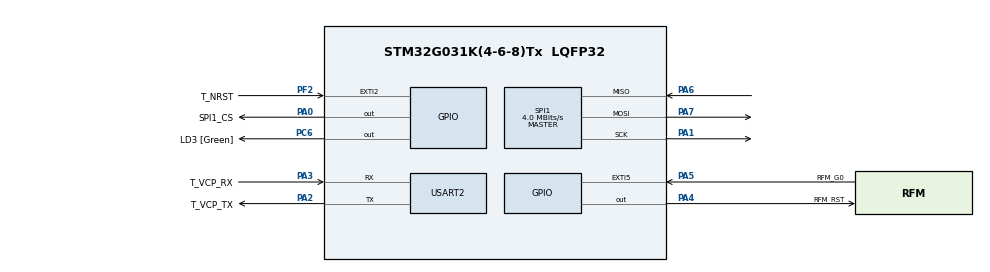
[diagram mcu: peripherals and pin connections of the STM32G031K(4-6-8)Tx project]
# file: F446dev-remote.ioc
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Mcu.Family=STM32G0
Mcu.Name=STM32G031K(4-6-8)Tx
Mcu.Package=LQFP32
PA0.GPIO_Label=SPI1_CS
PA0.GPIO_Speed=GPIO_SPEED_FREQ_VERY_HIGH
PA0.PinState=GPIO_PIN_SET
PA0.Signal=GPIO_Output
PA1.Mode=Full_Duplex_Master
PA1.Signal=SPI1_SCK
PA13.GPIO_Label=T_JTMS
PA13.Mode=Serial_Wire
PA13.Signal=SYS_SWDIO
PA14-BOOT0.GPIO_Label=T_JTCK
PA14-BOOT0.Mode=Serial_Wire
PA14-BOOT0.Signal=SYS_SWCLK
PA2.GPIO_Label=T_VCP_TX
PA2.GPIO_PuPd=GPIO_PULLUP
PA2.Mode=Asynchronous
PA2.Signal=USART2_TX
PA3.GPIO_Label=T_VCP_RX
PA3.GPIO_PuPd=GPIO_PULLUP
PA3.Mode=Asynchronous
PA3.Signal=USART2_RX
PA4.GPIO_Label=RFM_RST
PA4.GPIO_Speed=GPIO_SPEED_FREQ_VERY_HIGH
PA4.PinState=GPIO_PIN_SET
PA4.Signal=GPIO_Output
PA5.GPIO_Label=RFM_G0
PA5.Signal=GPXTI5
PA6.Mode=Full_Duplex_Master
PA6.Signal=SPI1_MISO
PA7.Mode=Full_Duplex_Master
PA7.Signal=SPI1_MOSI
PC14-OSC32_IN\ (PC14).Mode=LSE-External-Oscillator
PC14-OSC32_IN\ (PC14).Signal=RCC_OSC32_IN
PC15-OSC32_OUT\ (PC15).Mode=LSE-External-Oscillator
PC15-OSC32_OUT\ (PC15).Signal=RCC_OSC32_OUT
PC6.GPIO_Label=LD3 [Green]
PC6.Signal=GPIO_Output
PF2\ -\ NRST.GPIO_Label=T_NRST
PF2\ -\ NRST.Signal=GPXTI2
ProjectManager.HeapSize=0x200
ProjectManager.StackSize=0x400
ProjectManager.TargetToolchain=STM32CubeIDE
RCC.AHBFreq_Value=16000000
RCC.CortexFreq_Value=16000000
RCC.EXTERNAL_CLOCK_VALUE=12288000
RCC.HCLKFreq_Value=16000000
RCC.HSE_VALUE=8000000
RCC.HSI_VALUE=16000000
RCC.SYSCLKFreq_VALUE=16000000
RCC.VCOOutputFreq_Value=128000000
SPI1.BaudRatePrescaler=SPI_BAUDRATEPRESCALER_4
SPI1.CalculateBaudRate=4.0 MBits/s
SPI1.Direction=SPI_DIRECTION_2LINES
SPI1.Mode=SPI_MODE_MASTER
SPI1.VirtualType=VM_MASTER
USART2.VirtualMode-Asynchronous=VM_ASYNC
USART2.WordLength=WORDLENGTH_8B
board=NUCLEO-G031K8

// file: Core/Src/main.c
/* USER CODE BEGIN Header */
/**
  ******************************************************************************
  * @file           : main.c
  * @brief          : Main program body
  ******************************************************************************
  * @attention
  *
  * Copyright (c) 2024 STMicroelectronics.
  * All rights reserved.
  *
  * This software is licensed under terms that can be found in the LICENSE file
  * in the root directory of this software component.
  * If no LICENSE file comes with this software, it is provided AS-IS.
  *
  ******************************************************************************
  */
/* USER CODE END Header */
#include "main.h"

/* USER CODE BEGIN Includes */
#include "LoRa.h"
/* USER CODE END Includes */

SPI_HandleTypeDef hspi1;

void SystemClock_Config(void);
static void MX_GPIO_Init(void);
static void MX_USART2_UART_Init(void);
static void MX_SPI1_Init(void);

int main(void)
{

  /* MCU Configuration--------------------------------------------------------*/

  /* Reset of all peripherals, Initializes the Flash interface and the Systick. */
  HAL_Init();

  /* Configure the system clock */
  SystemClock_Config();

  /* Initialize all configured peripherals */
  MX_GPIO_Init();
  MX_USART2_UART_Init();
  MX_SPI1_Init();
  /* USER CODE BEGIN 2 */
  uint8_t welcome_msg[] = "\e[2J\e[HAMP KART Remote UART Interface\r\n=======================\r\n";
  //  HAL_UART_Transmit_IT(&huart2, welcome_msg, sizeof(welcome_msg));
    for (int i = 0; i < sizeof(welcome_msg); i++)
    {
  	  LL_USART_TransmitData8(USART2, welcome_msg[i]);
  	  while (!LL_USART_IsActiveFlag_TXE(USART2));
    }

    LoRa myLoRa;
    myLoRa = newLoRa();

    myLoRa.CS_port = SPI1_CS_GPIO_Port;
    myLoRa.CS_pin = SPI1_CS_Pin;
    myLoRa.reset_port = RFM_RST_GPIO_Port;
    myLoRa.reset_pin = RFM_RST_Pin;
    myLoRa.DIO0_port = RFM_G0_GPIO_Port;
    myLoRa.DIO0_pin = RFM_G0_Pin;
    myLoRa.hSPIx = &hspi1;

    myLoRa.frequency = 915;

    LoRa_reset(&myLoRa);
    uint16_t lora_status = LoRa_init(&myLoRa);
    if (lora_status == LORA_OK)
    {
    	  uint8_t msg[] = "LoRa OK\r\n";
    	  //  HAL_UART_Transmit_IT(&huart2, welcome_msg, sizeof(welcome_msg));
    	  for (int i = 0; i < sizeof(msg); i++)
    	  {
    		  LL_USART_TransmitData8(USART2, msg[i]);
    		  while (!LL_USART_IsActiveFlag_TXE(USART2));
    	  }
    }
    else
    {
    	  uint8_t msg[] = "LoRa FAILED\r\n";
    	  //  HAL_UART_Transmit_IT(&huart2, welcome_msg, sizeof(welcome_msg));
    	  for (int i = 0; i < sizeof(msg); i++)
    	  {
    		  LL_USART_TransmitData8(USART2, msg[i]);
    		  while (!LL_USART_IsActiveFlag_TXE(USART2));
    	  }
    }
  /* USER CODE END 2 */

  /* Infinite loop */
  /* USER CODE BEGIN WHILE */
    char send_data[200];
    memset(send_data, NULL, 200);
    snprintf(send_data, sizeof(send_data), "1234abcd\r\n");
  while (1)
  {
	  //  HAL_UART_Transmit_IT(&huart2, welcome_msg, sizeof(welcome_msg));
	  for (int i = 0; i < sizeof(send_data); i++)
	  {
		  LL_USART_TransmitData8(USART2, send_data[i]);
		  while (!LL_USART_IsActiveFlag_TXE(USART2));
	  }
	  LL_GPIO_SetOutputPin(LD3_GPIO_Port, LD3_Pin);
	  LoRa_transmit(&myLoRa, send_data, 8, 100);
	  LL_GPIO_ResetOutputPin(LD3_GPIO_Port, LD3_Pin);
	  HAL_Delay(1000);
    /* USER CODE END WHILE */

  }
}

void SystemClock_Config(void)
{
  /* HSI configuration and activation */
  LL_RCC_HSI_Enable();
  while(LL_RCC_HSI_IsReady() != 1)
  {
  }

  /* Set AHB prescaler*/
  LL_RCC_SetAHBPrescaler(LL_RCC_SYSCLK_DIV_1);

  /* Sysclk activation on the HSI */
  LL_RCC_SetSysClkSource(LL_RCC_SYS_CLKSOURCE_HSI);
  while(LL_RCC_GetSysClkSource() != LL_RCC_SYS_CLKSOURCE_STATUS_HSI)
  {
  }

  /* Set APB1 prescaler*/
  LL_RCC_SetAPB1Prescaler(LL_RCC_APB1_DIV_1);
  /* Update CMSIS variable (which can be updated also through SystemCoreClockUpdate function) */
  LL_SetSystemCoreClock(16000000);

   /* Update the time base */
  if (HAL_InitTick (TICK_INT_PRIORITY) != HAL_OK)
  {
    Error_Handler();
  }
}

static void MX_SPI1_Init(void)
{

  /* SPI1 parameter configuration*/
  hspi1.Instance = SPI1;
  hspi1.Init.Mode = SPI_MODE_MASTER;
  hspi1.Init.Direction = SPI_DIRECTION_2LINES;
  hspi1.Init.DataSize = SPI_DATASIZE_8BIT;
  hspi1.Init.CLKPolarity = SPI_POLARITY_LOW;
  hspi1.Init.CLKPhase = SPI_PHASE_1EDGE;
  hspi1.Init.NSS = SPI_NSS_SOFT;
  hspi1.Init.BaudRatePrescaler = SPI_BAUDRATEPRESCALER_4;
  hspi1.Init.FirstBit = SPI_FIRSTBIT_MSB;
  hspi1.Init.TIMode = SPI_TIMODE_DISABLE;
  hspi1.Init.CRCCalculation = SPI_CRCCALCULATION_DISABLE;
  hspi1.Init.CRCPolynomial = 7;
  hspi1.Init.CRCLength = SPI_CRC_LENGTH_DATASIZE;
  hspi1.Init.NSSPMode = SPI_NSS_PULSE_ENABLE;
  if (HAL_SPI_Init(&hspi1) != HAL_OK)
  {
    Error_Handler();
  }

}

static void MX_USART2_UART_Init(void)
{

  LL_USART_InitTypeDef USART_InitStruct = {0};

  LL_GPIO_InitTypeDef GPIO_InitStruct = {0};

  /* Peripheral clock enable */
  LL_APB1_GRP1_EnableClock(LL_APB1_GRP1_PERIPH_USART2);

  LL_IOP_GRP1_EnableClock(LL_IOP_GRP1_PERIPH_GPIOA);
  /**USART2 GPIO Configuration
  PA2   ------> USART2_TX
  PA3   ------> USART2_RX
  */
  GPIO_InitStruct.Pin = T_VCP_TX_Pin;
  GPIO_InitStruct.Mode = LL_GPIO_MODE_ALTERNATE;
  GPIO_InitStruct.Speed = LL_GPIO_SPEED_FREQ_LOW;
  GPIO_InitStruct.OutputType = LL_GPIO_OUTPUT_PUSHPULL;
  GPIO_InitStruct.Pull = LL_GPIO_PULL_UP;
  GPIO_InitStruct.Alternate = LL_GPIO_AF_1;
  LL_GPIO_Init(T_VCP_TX_GPIO_Port, &GPIO_InitStruct);

  GPIO_InitStruct.Pin = T_VCP_RX_Pin;
  GPIO_InitStruct.Mode = LL_GPIO_MODE_ALTERNATE;
  GPIO_InitStruct.Speed = LL_GPIO_SPEED_FREQ_LOW;
  GPIO_InitStruct.OutputType = LL_GPIO_OUTPUT_PUSHPULL;
  GPIO_InitStruct.Pull = LL_GPIO_PULL_UP;
  GPIO_InitStruct.Alternate = LL_GPIO_AF_1;
  LL_GPIO_Init(T_VCP_RX_GPIO_Port, &GPIO_InitStruct);

  USART_InitStruct.PrescalerValue = LL_USART_PRESCALER_DIV1;
  USART_InitStruct.BaudRate = 115200;
  USART_InitStruct.DataWidth = LL_USART_DATAWIDTH_8B;
  USART_InitStruct.StopBits = LL_USART_STOPBITS_1;
  USART_InitStruct.Parity = LL_USART_PARITY_NONE;
  USART_InitStruct.TransferDirection = LL_USART_DIRECTION_TX_RX;
  USART_InitStruct.HardwareFlowControl = LL_USART_HWCONTROL_NONE;
  USART_InitStruct.OverSampling = LL_USART_OVERSAMPLING_16;
  LL_USART_Init(USART2, &USART_InitStruct);
  LL_USART_ConfigAsyncMode(USART2);

  LL_USART_Enable(USART2);

  /* Polling USART2 initialisation */
  while((!(LL_USART_IsActiveFlag_TEACK(USART2))) || (!(LL_USART_IsActiveFlag_REACK(USART2))))
  {
  }

}

static void MX_GPIO_Init(void)
{
  LL_EXTI_InitTypeDef EXTI_InitStruct = {0};
  LL_GPIO_InitTypeDef GPIO_InitStruct = {0};

  /* GPIO Ports Clock Enable */
  LL_IOP_GRP1_EnableClock(LL_IOP_GRP1_PERIPH_GPIOC);
  LL_IOP_GRP1_EnableClock(LL_IOP_GRP1_PERIPH_GPIOF);
  LL_IOP_GRP1_EnableClock(LL_IOP_GRP1_PERIPH_GPIOA);

  /**/
  LL_GPIO_SetOutputPin(SPI1_CS_GPIO_Port, SPI1_CS_Pin);

  /**/
  LL_GPIO_SetOutputPin(RFM_RST_GPIO_Port, RFM_RST_Pin);

  /**/
  LL_GPIO_ResetOutputPin(LD3_GPIO_Port, LD3_Pin);

  /**/
  LL_EXTI_SetEXTISource(LL_EXTI_CONFIG_PORTF, LL_EXTI_CONFIG_LINE2);

  /**/
  LL_EXTI_SetEXTISource(LL_EXTI_CONFIG_PORTA, LL_EXTI_CONFIG_LINE5);

  /**/
  EXTI_InitStruct.Line_0_31 = LL_EXTI_LINE_2;
  EXTI_InitStruct.LineCommand = ENABLE;
  EXTI_InitStruct.Mode = LL_EXTI_MODE_IT;
  EXTI_InitStruct.Trigger = LL_EXTI_TRIGGER_RISING;
  LL_EXTI_Init(&EXTI_InitStruct);

  /**/
  EXTI_InitStruct.Line_0_31 = LL_EXTI_LINE_5;
  EXTI_InitStruct.LineCommand = ENABLE;
  EXTI_InitStruct.Mode = LL_EXTI_MODE_IT;
  EXTI_InitStruct.Trigger = LL_EXTI_TRIGGER_RISING;
  LL_EXTI_Init(&EXTI_InitStruct);

  /**/
  LL_GPIO_SetPinPull(T_NRST_GPIO_Port, T_NRST_Pin, LL_GPIO_PULL_NO);

  /**/
  LL_GPIO_SetPinPull(RFM_G0_GPIO_Port, RFM_G0_Pin, LL_GPIO_PULL_NO);

  /**/
  LL_GPIO_SetPinMode(T_NRST_GPIO_Port, T_NRST_Pin, LL_GPIO_MODE_INPUT);

  /**/
  LL_GPIO_SetPinMode(RFM_G0_GPIO_Port, RFM_G0_Pin, LL_GPIO_MODE_INPUT);

  /**/
  GPIO_InitStruct.Pin = SPI1_CS_Pin;
  GPIO_InitStruct.Mode = LL_GPIO_MODE_OUTPUT;
  GPIO_InitStruct.Speed = LL_GPIO_SPEED_FREQ_VERY_HIGH;
  GPIO_InitStruct.OutputType = LL_GPIO_OUTPUT_PUSHPULL;
  GPIO_InitStruct.Pull = LL_GPIO_PULL_NO;
  LL_GPIO_Init(SPI1_CS_GPIO_Port, &GPIO_InitStruct);

  /**/
  GPIO_InitStruct.Pin = RFM_RST_Pin;
  GPIO_InitStruct.Mode = LL_GPIO_MODE_OUTPUT;
  GPIO_InitStruct.Speed = LL_GPIO_SPEED_FREQ_VERY_HIGH;
  GPIO_InitStruct.OutputType = LL_GPIO_OUTPUT_PUSHPULL;
  GPIO_InitStruct.Pull = LL_GPIO_PULL_NO;
  LL_GPIO_Init(RFM_RST_GPIO_Port, &GPIO_InitStruct);

  /**/
  GPIO_InitStruct.Pin = LD3_Pin;
  GPIO_InitStruct.Mode = LL_GPIO_MODE_OUTPUT;
  GPIO_InitStruct.Speed = LL_GPIO_SPEED_FREQ_LOW;
  GPIO_InitStruct.OutputType = LL_GPIO_OUTPUT_PUSHPULL;
  GPIO_InitStruct.Pull = LL_GPIO_PULL_NO;
  LL_GPIO_Init(LD3_GPIO_Port, &GPIO_InitStruct);

}

void Error_Handler(void)
{
  __disable_irq();
  while (1)
  {
  }
}
